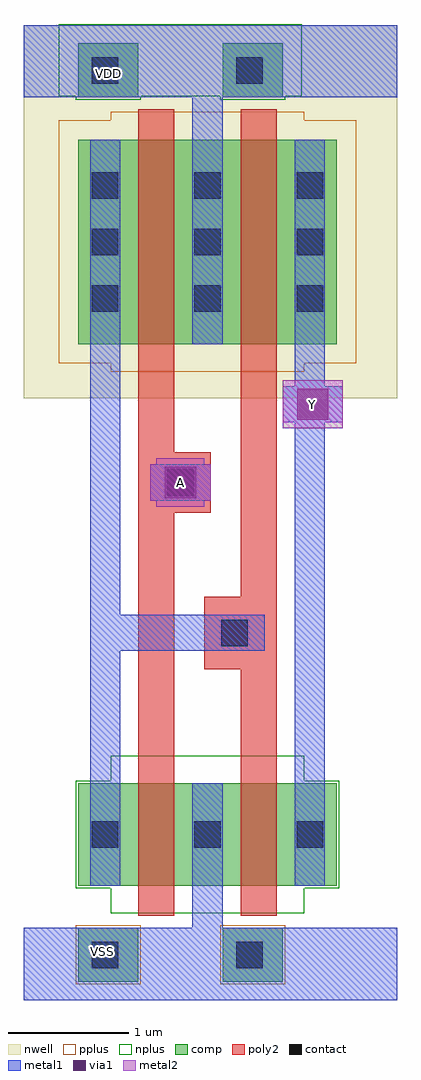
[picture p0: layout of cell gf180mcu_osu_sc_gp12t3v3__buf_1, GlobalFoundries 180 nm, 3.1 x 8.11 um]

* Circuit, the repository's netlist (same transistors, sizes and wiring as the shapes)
* Copyright 2022 Google LLC
*
* Licensed under the Apache License, Version 2.0 (the "License");
* you may not use this file except in compliance with the License.
* You may obtain a copy of the License at
*
*      http://www.apache.org/licenses/LICENSE-2.0
*
* Unless required by applicable law or agreed to in writing, software
* distributed under the License is distributed on an "AS IS" BASIS,
* WITHOUT WARRANTIES OR CONDITIONS OF ANY KIND, either express or implied.
* See the License for the specific language governing permissions and
* limitations under the License.

.inc "/import/yukari1/lrburle/OSU_180/char/techfiles/design.hspice"
.lib "/import/yukari1/lrburle/OSU_180/char/techfiles/sm141064.hspice" typical

.GLOBAL VDD
.GLOBAL VSS

.option scale=0.05u

.subckt gf180mcu_osu_sc_gp12t3v3__buf_1 A Y
X0 Y a_9_19 VDD VDD pmos_3p3 w=34 l=6
X1 VDD A a_9_19 VDD pmos_3p3 w=34 l=6
X2 VSS A a_9_19 VSS nmos_3p3 w=17 l=6
X3 Y a_9_19 VSS VSS nmos_3p3 w=17 l=6
.ends

** hspice subcircuit dictionary

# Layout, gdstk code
import gdstk
lib = gdstk.Library(unit=1e-6, precision=1e-09)
def R(c, l, rs):  # rectangles x0, y0, x1, y1
    for r in rs: c.add(gdstk.rectangle(r[:2], r[2:], *l))
def A(c, l, x, y, w, h, nx, ny, dx, dy):  # array of equal rectangles
    R(c, l, [(x+i*dx, y+j*dy, x+i*dx+w, y+j*dy+h) for i in range(nx) for j in range(ny)])
nwell = (21, 0)
comp = (22, 0)
poly2 = (30, 0)
pplus = (31, 0)
nplus = (32, 0)
contact = (33, 0)
metal1 = (34, 0)
via1 = (35, 0)
metal2 = (36, 0)

gf180mcu_osu_sc_gp12t3v3 = lib.new_cell('gf180mcu_osu_sc_gp12t3v3__buf_1')
R(gf180mcu_osu_sc_gp12t3v3, nwell, [(0,5,3.1,8.1)])
R(gf180mcu_osu_sc_gp12t3v3, comp, [(0.45,0.15,0.95,0.6), (1.65,0.15,2.15,0.6), (0.45,0.95,2.6,1.8), (0.45,5.45,2.6,7.15), (0.45,7.5,0.95,7.95), (1.65,7.5,2.15,7.95)])
R(gf180mcu_osu_sc_gp12t3v3, poly2, [(0.95,0.7,1.25,4.05), (1.8,0.7,2.1,2.75), (1.5,2.75,2.1,3.35), (1.8,3.35,2.1,7.4), (0.95,4.05,1.55,4.55), (0.95,4.55,1.25,7.4)])
R(gf180mcu_osu_sc_gp12t3v3, pplus, [(0.43,0.13,0.97,0.62), (1.63,0.13,2.17,0.62), (0.72,5.22,2.33,5.29), (0.29,5.29,2.76,7.31), (0.72,7.31,2.33,7.38)])
R(gf180mcu_osu_sc_gp12t3v3, nplus, [(0.72,0.72,2.33,0.93), (0.43,0.93,2.62,1.82), (0.72,1.82,2.33,2.03), (0.43,7.48,0.97,7.51), (1.63,7.48,2.17,7.51), (0.29,7.51,2.31,8.11)])
A(gf180mcu_osu_sc_gp12t3v3, contact, 0.565, 1.265, 0.22, 0.22, 3, 2, 0.85, 4.455)
A(gf180mcu_osu_sc_gp12t3v3, contact, 0.565, 6.19, 0.22, 0.22, 3, 2, 0.85, 0.47)
R(gf180mcu_osu_sc_gp12t3v3, contact, [(0.565,0.265,0.785,0.485), (1.765,0.265,1.985,0.485), (1.64,2.94,1.86,3.16), (1.19,4.19,1.41,4.41), (0.565,7.615,0.785,7.835), (1.765,7.615,1.985,7.835)])
R(gf180mcu_osu_sc_gp12t3v3, metal1, [(0,0,3.1,0.6), (1.4,0.6,1.65,1.8), (0.55,0.95,0.8,2.9), (2.25,0.95,2.5,4.8), (0.55,2.9,2,3.2), (0.55,3.2,0.8,7.15), (1.05,4.15,1.55,4.45), (2.15,4.8,2.65,5.1), (2.25,5.1,2.5,7.15), (1.4,5.45,1.65,7.5), (0,7.5,3.1,8.1)])
R(gf180mcu_osu_sc_gp12t3v3, via1, [(1.17,4.17,1.43,4.43), (2.27,4.82,2.53,5.08)])
R(gf180mcu_osu_sc_gp12t3v3, metal2, [(1.1,4.1,1.5,4.15), (1.05,4.15,1.55,4.45), (1.1,4.45,1.5,4.5), (2.15,4.75,2.65,5.15)])
gf180mcu_osu_sc_gp12t3v3.add(gdstk.Label('VDD', (0.7,7.7), layer=34, texttype=0))
gf180mcu_osu_sc_gp12t3v3.add(gdstk.Label('VSS', (0.65,0.4), layer=34, texttype=0))
gf180mcu_osu_sc_gp12t3v3.add(gdstk.Label('A', (1.3,4.3), layer=36, texttype=10))
gf180mcu_osu_sc_gp12t3v3.add(gdstk.Label('Y', (2.4,4.95), layer=36, texttype=10))

lib.write_gds('gf180mcu_osu_sc_gp12t3v3__buf_1.gds')
